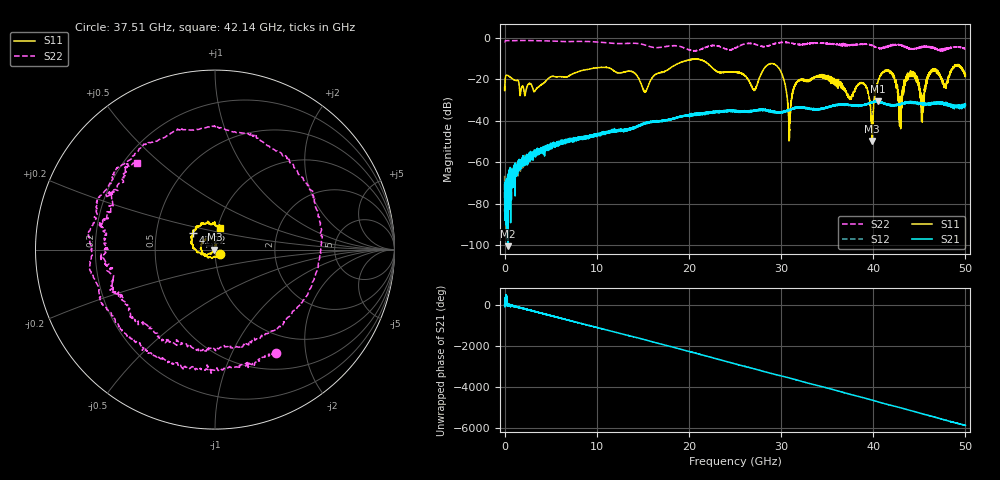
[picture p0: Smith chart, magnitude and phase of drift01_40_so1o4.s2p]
!Created with skrf (http://scikit-rf.org).
# Hz S RI R 50.0
!freq ReS11 ImS11 ReS21 ImS21 ReS12 ImS12 ReS22 ImS22
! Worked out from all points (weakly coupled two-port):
!   10001 points, 300 kHz to 50 GHz, reference 50 ohm
!   highest |S21| = -30.59 dB at 40.48 GHz (marker M1); lowest = -100.5 dB at 335.3 MHz (marker M2)
!   lowest |S11| = -49.8 dB at 39.88 GHz (marker M3), VSWR 1.01, Z = 49.7 + j0.0338 ohm
!   |S11| at or under -10 dB: start of sweep to end of sweep
!   |S22| runs from -6.6 to -1.4 dB; largest |S21 - S12| = 0.0041
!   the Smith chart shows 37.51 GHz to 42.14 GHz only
!   S11 on the Smith chart (normalised r, x): 37.51 GHz: 1.05, -0.05; 41.22 GHz: 0.77, +0.15; 42.14 GHz: 1.02, +0.25
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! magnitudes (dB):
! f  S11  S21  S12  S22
! 300 kHz  -23.9  -69.8  -66.6  -2.1
! 335.3 MHz  -18.2  -100.5  -70.1  -1.4
! 8.335 GHz  -15.9  -48.5  -48.6  -1.8
! 16.67 GHz  -17.1  -40.3  -40.3  -4.8
! 25 GHz  -16.6  -35.0  -35.6  -5.1
! 27.1 GHz  -25.4  -35.3  -35.1  -3.2
! 29.42 GHz  -13.1  -36.0  -35.9  -2.7
! 30.91 GHz  -44.3  -34.9  -34.8  -2.5
! 31.66 GHz  -21.7  -33.8  -33.7  -3.1
! 33.34 GHz  -19.9  -34.4  -34.2  -2.7
! 37.51 GHz  -29.1  -32.4  -32.5  -3.5
! 38.95 GHz  -22.1  -32.5  -32.5  -3.1
! 39.88 GHz  -49.8  -31.1  -31.2  -3.7
! 40.48 GHz  -21.9  -30.6  -30.9  -4.9
! 41.22 GHz  -16.2  -31.5  -31.8  -4.7
! 41.67 GHz  -16.1  -32.2  -32.5  -4.1
! 42.14 GHz  -18.3  -32.7  -32.6  -3.7
! 42.93 GHz  -34.2  -32.1  -32.1  -3.6
! 43.96 GHz  -17.9  -31.2  -31.1  -5.2
! 45.31 GHz  -37.5  -31.9  -32.1  -4.4
! 46.42 GHz  -15.2  -31.8  -31.6  -4.6
! 50 GHz  -17.9  -32.4  -33.0  -5.4
